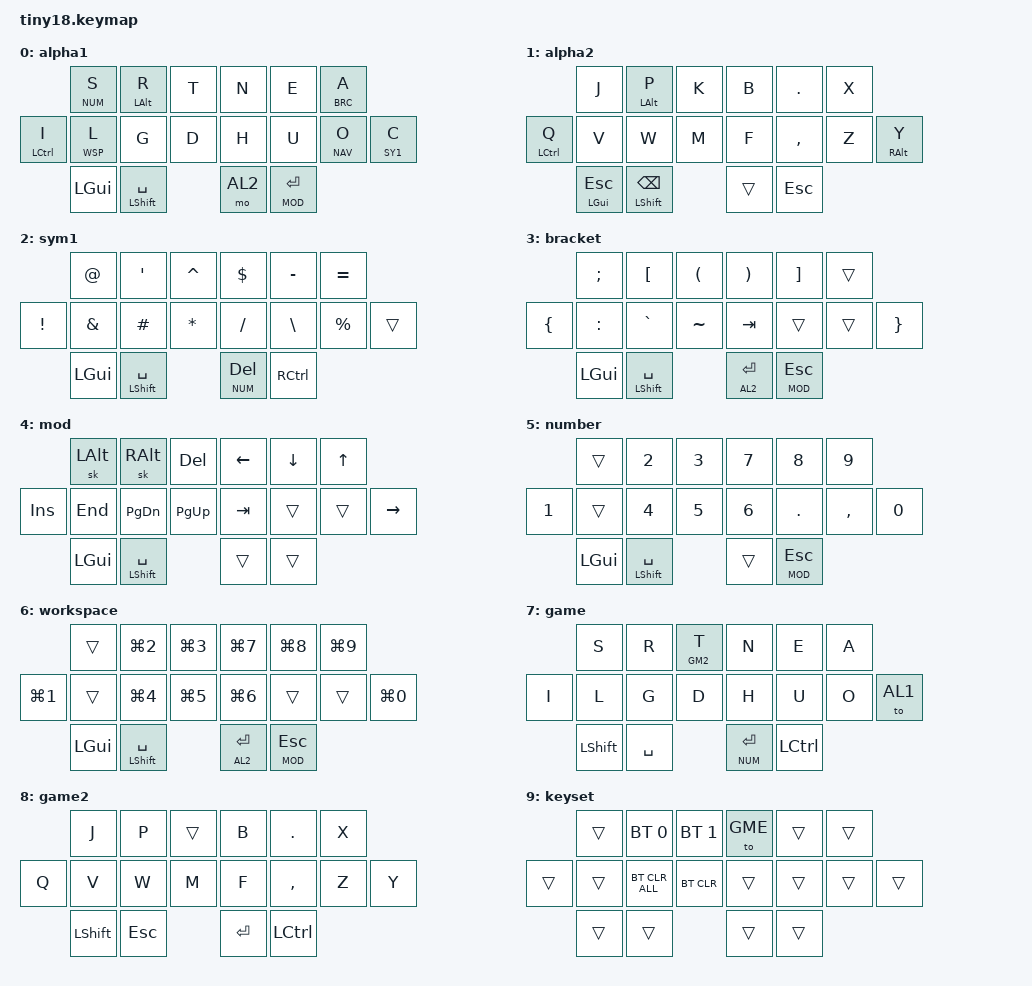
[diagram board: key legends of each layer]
/*
 *
 *          &kp &kp &kp   &kp &kp &kp 
 *      &kp &kp &kp &kp   &kp &kp &kp &kp 
 *              &kp &kp   &kp &kp          
 */

#include <dt-bindings/zmk/keys.h>
#include <behaviors.dtsi>
#include <dt-bindings/zmk/bt.h>

#define AL1 0
#define AL2 1
#define SY1 2
#define BRC 3
#define MOD 4
#define NUM 5
#define WSP 6
#define GME 7
#define GM2 8
#define NAV 9

&lt {
    tapping-term-ms = <300>;
    flavor = "tap-preferred";
};
&mt {
    tapping-term-ms = <300>;
    flavor = "tap-preferred";
};

/ { 
    behaviors {
        lss: left_shift_space {
            compatible = "zmk,behavior-hold-tap";
            label = "HOMEROW_MODS";
            #binding-cells = <2>;
            tapping-term-ms = <200>;
            flavor = "tap-preferred";
            bindings = <&kp>, <&kp>;
        };
        tr: thumb-layer {
            compatible = "zmk,behavior-hold-tap";
            label = "THUMB-MOD";
            #binding-cells = <2>;
            tapping-term-ms = <200>;
            flavor = "tap-preferred";
            bindings = <&mo>, <&kp>;
        };
    };

    keymap {
        compatible = "zmk,keymap";

        alpha1 { 
        bindings = <
                    &lt NUM S &mt LALT R &kp T           &kp N   &kp E &lt BRC A 
        &mt LCTRL I &lt WSP L &kp G      &kp D           &kp H   &kp U &lt NAV O &lt SY1 C
                   &kp LGUI  &lss LSHFT SPACE       &mo AL2 &tr MOD RET
        >;
        };

        alpha2 {
        bindings = <
                    &kp J   &mt LALT P &kp K           &kp B   &kp DOT   &kp X
        &mt LCTRL Q &kp V   &kp W      &kp M           &kp F   &kp COMMA &kp Z &mt RALT Y
                 &mt LGUI ESC &mt LSHFT BSPC     &trans    &kp ESC
        >;
        };

        sym1 {
        bindings = <
                 &kp AT   &kp SQT  &kp CARET       &kp DLLR &kp MINUS &kp EQUAL
        &kp EXCL &kp AMPS &kp HASH &kp STAR        &kp FSLH &kp BSLH  &kp PRCNT &trans
                    &kp LGUI &mt LSHFT SPACE       &lt NUM DEL &kp RCTRL
        >;
        };

        bracket {
        bindings = <
                 &kp SEMI  &kp LBKT  &kp LPAR      &kp RPAR   &kp RBKT &trans
        &kp LBRC &kp COLON &kp GRAVE &kp TILDE     &kp TAB    &trans   &trans &kp RBRC
                   &kp LGUI &mt LSHFT SPACE       &lt AL2 RET &lt MOD ESC
        >;
        };
        
        mod {
        bindings = <
                &sk LALT &sk RALT  &kp DEL       &kp LEFT_ARROW &kp DOWN_ARROW &kp UP_ARROW
        &kp INS &kp END  &kp PG_DN &kp PG_UP     &kp TAB  &trans   &trans &kp RIGHT_ARROW
                   &kp LGUI &mt LSHFT SPACE       &trans &trans
        >;
        };

        number {
        bindings = <
                 &trans &kp N2  &kp N3      &kp N7 &kp N8  &kp N9
        &kp N1   &trans &kp N4  &kp N5      &kp N6 &kp DOT &kp COMMA &kp N0
                &kp LGUI &mt LSHFT SPACE       &trans &lt MOD ESC
        >;
        };

        workspace {
        bindings = <
                   &trans &kp LG(N2)  &kp LG(N3)      &kp LG(N7) &kp LG(N8)  &kp LG(N9)
        &kp LG(N1) &trans &kp LG(N4)  &kp LG(N5)      &kp LG(N6) &trans      &trans &kp LG(N0)
                       &kp LGUI &mt LSHFT SPACE       &lt AL2 RET &lt MOD ESC
        >;
        };

        game {
        bindings = <
              &kp S    &kp R   &lt GM2 T       &kp N   &kp E    &kp A
        &kp I &kp L    &kp G   &kp D           &kp H   &kp U    &kp O &to AL1
                    &kp LSHFT &kp SPACE     &lt NUM RET &kp LCTRL
        >;
        };

        game2 {
        bindings = <
              &kp J    &kp P   &trans          &kp B   &kp DOT      &kp X
        &kp Q &kp V    &kp W   &kp M           &kp F   &kp COMMA    &kp Z &kp Y
                    &kp LSHFT &kp ESC     &kp RET &kp LCTRL
        >;
        };

        keyset {
        bindings = < 
               &trans &bt BT_SEL 0   &bt BT_SEL 1   &to GME &trans &trans 
        &trans &trans &bt BT_CLR_ALL &bt BT_CLR     &trans &trans &trans &trans 
                               &trans &trans    &trans &trans   
        >;
        };
    };
};
